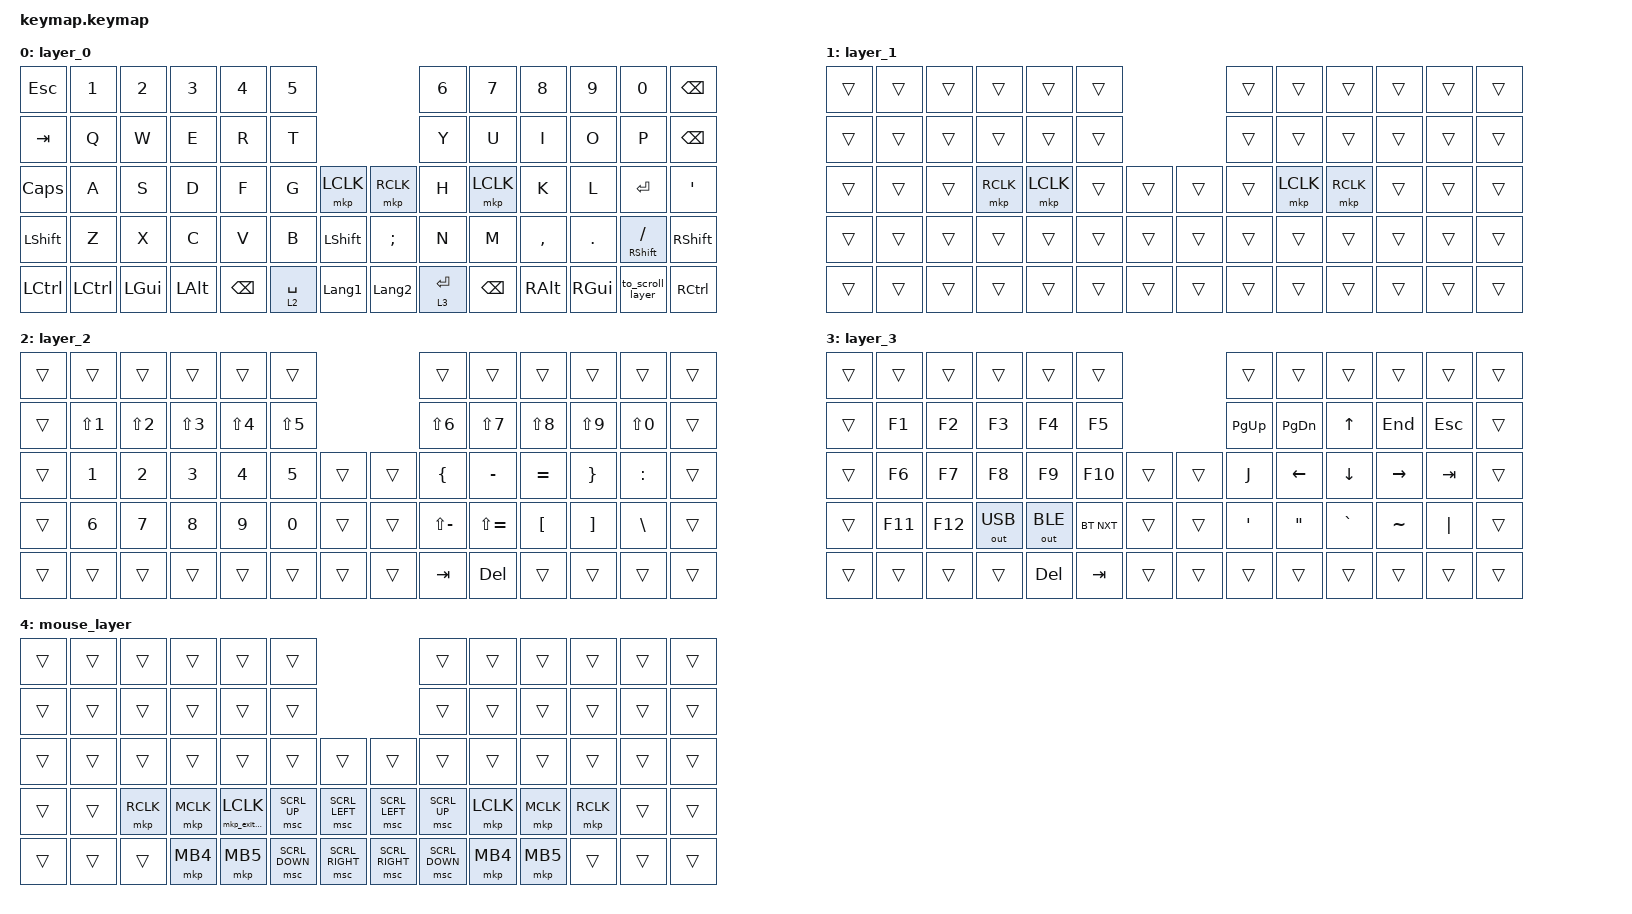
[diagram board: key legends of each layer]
#include <behaviors.dtsi>
#include <dt-bindings/zmk/bt.h>
#include <dt-bindings/zmk/keys.h>
#include <dt-bindings/zmk/outputs.h>
#include <dt-bindings/zmk/pointing.h>

/ {
    combos {
        compatible = "zmk,combos";

        bt_clear {
            bindings = <&bt BT_CLR>;
            key-positions = <28 29>;
            layers = <2>;
        };

        Right_Click {
            bindings = <&mkp RCLK>;
            key-positions = <34 33>;
        };

        browser_back {
            bindings = <&kp LG(LEFT)>;
            key-positions = <58 57>;
        };

        browser_forward {
            bindings = <&kp LG(RIGHT)>;
            key-positions = <59 60>;
        };

        press_J {
            bindings = <&kp J>;
            key-positions = <32 33>;
        };

        browser_back2 {
            bindings = <&kp LG(LEFT)>;
            key-positions = <46 47>;
        };

        browser_forward2 {
            bindings = <&kp LG(RIGHT)>;
            key-positions = <48 47>;
        };

        page_up {
            bindings = <&kp PAGE_UP>;
            key-positions = <33 20>;
        };

        page_down {
            bindings = <&kp PAGE_DOWN>;
            key-positions = <33 46>;
        };
    };

    macros {
        to_layer_0: to_layer_0 {
            compatible = "zmk,behavior-macro-one-param";
            #binding-cells = <1>;
            bindings = <&to 0 &macro_param_1to1 &kp MACRO_PLACEHOLDER>;
            label = "TO_LAYER_0";
        };

        mkp_exit_AML: mkp_exit_AML {
            compatible = "zmk,behavior-macro-one-param";
            #binding-cells = <1>;
            bindings =
                <&macro_press>,
                <&macro_param_1to1 &mkp MACRO_PLACEHOLDER>,
                <&macro_pause_for_release>,
                <&macro_release>,
                <&macro_param_1to1 &mkp MACRO_PLACEHOLDER>,
                <&macro_tap>,
                <&sl 4>;

            label = "MKP_EXIT_AML";
        };

        to_scroll_layer: to_scroll_layer {
            compatible = "zmk,behavior-macro";
            #binding-cells = <0>;
            bindings =
                <&to 1>,
                <&macro_press>,
                <&mo 1>,
                <&macro_pause_for_release>,
                <&macro_release>,
                <&mo 1>;

            label = "TO_SCROLL_LAYER";
        };
    };

    keymap {
        compatible = "zmk,keymap";

        layer_0 {
            bindings = <
&kp ESC    &kp N1     &kp N2    &kp N3    &kp N4    &kp N5                                       &kp N6       &kp N7     &kp N8     &kp N9    &kp N0                &kp BSPC
&kp TAB    &kp Q      &kp W     &kp E     &kp R     &kp T                                        &kp Y        &kp U      &kp I      &kp O     &kp P                 &kp BSPC
&kp CAPS   &kp A      &kp S     &kp D     &kp F     &kp G        &mkp LCLK       &mkp RCLK       &kp H        &mkp LCLK  &kp K      &kp L     &kp RET               &kp SQT
&kp LSHFT  &kp Z      &kp X     &kp C     &kp V     &kp B        &kp LSHFT       &kp SEMI        &kp N        &kp M      &kp COMMA  &kp DOT   &mt RIGHT_SHIFT FSLH  &kp RSHFT
&kp LCTRL  &kp LCTRL  &kp LGUI  &kp LALT  &kp BSPC  &lt 2 SPACE  &kp LANGUAGE_1  &kp LANGUAGE_2  &lt 3 ENTER  &kp BSPC   &kp RALT   &kp RGUI  &to_scroll_layer      &kp RCTRL
            >;
        };

        layer_1 {
            bindings = <
&trans  &trans  &trans  &trans     &trans     &trans                  &trans  &trans     &trans     &trans  &trans  &trans
&trans  &trans  &trans  &trans     &trans     &trans                  &trans  &trans     &trans     &trans  &trans  &trans
&trans  &trans  &trans  &mkp RCLK  &mkp LCLK  &trans  &trans  &trans  &trans  &mkp LCLK  &mkp RCLK  &trans  &trans  &trans
&trans  &trans  &trans  &trans     &trans     &trans  &trans  &trans  &trans  &trans     &trans     &trans  &trans  &trans
&trans  &trans  &trans  &trans     &trans     &trans  &trans  &trans  &trans  &trans     &trans     &trans  &trans  &trans
            >;
        };

        layer_2 {
            bindings = <
&trans  &trans            &trans            &trans      &trans      &trans                      &trans          &trans         &trans            &trans             &trans         &trans
&trans  &kp LS(NUMBER_1)  &kp LS(NUMBER_2)  &kp LS(N3)  &kp LS(N4)  &kp LS(N5)                  &kp LS(N6)      &kp LS(N7)     &kp LS(N8)        &kp LS(N9)         &kp LS(N0)     &trans
&trans  &kp N1            &kp N2            &kp N3      &kp N4      &kp N5      &trans  &trans  &kp LEFT_BRACE  &kp MINUS      &kp EQUAL         &kp RIGHT_BRACE    &kp COLON      &trans
&trans  &kp N6            &kp N7            &kp N8      &kp N9      &kp N0      &trans  &trans  &kp LS(MINUS)   &kp LS(EQUAL)  &kp LEFT_BRACKET  &kp RIGHT_BRACKET  &kp BACKSLASH  &trans
&trans  &trans            &trans            &trans      &trans      &trans      &trans  &trans  &kp TAB         &kp DEL        &trans            &trans             &trans         &trans
            >;
        };

        layer_3 {
            bindings = <
&trans  &trans   &trans   &trans        &trans        &trans                      &trans            &trans          &trans          &trans     &trans      &trans
&trans  &kp F1   &kp F2   &kp F3        &kp F4        &kp F5                      &kp PAGE_UP       &kp PAGE_DOWN   &kp UP          &kp END    &kp ESCAPE  &trans
&trans  &kp F6   &kp F7   &kp F8        &kp F9        &kp F10     &trans  &trans  &kp J             &kp LEFT_ARROW  &kp DOWN_ARROW  &kp RIGHT  &kp TAB     &trans
&trans  &kp F11  &kp F12  &out OUT_USB  &out OUT_BLE  &bt BT_NXT  &trans  &trans  &kp SINGLE_QUOTE  &kp DQT         &kp GRAVE       &kp TILDE  &kp PIPE    &trans
&trans  &trans   &trans   &trans        &kp DELETE    &kp TAB     &trans  &trans  &trans            &trans          &trans          &trans     &trans      &trans
            >;
        };

        mouse_layer {
            bindings = <
&trans  &trans  &trans     &trans     &trans              &trans                                            &trans          &trans     &trans     &trans     &trans  &trans
&trans  &trans  &trans     &trans     &trans              &trans                                            &trans          &trans     &trans     &trans     &trans  &trans
&trans  &trans  &trans     &trans     &trans              &trans          &trans           &trans           &trans          &trans     &trans     &trans     &trans  &trans
&trans  &trans  &mkp RCLK  &mkp MCLK  &mkp_exit_AML LCLK  &msc SCRL_UP    &msc SCRL_LEFT   &msc SCRL_LEFT   &msc SCRL_UP    &mkp LCLK  &mkp MCLK  &mkp RCLK  &trans  &trans
&trans  &trans  &trans     &mkp MB4   &mkp MB5            &msc SCRL_DOWN  &msc SCRL_RIGHT  &msc SCRL_RIGHT  &msc SCRL_DOWN  &mkp MB4   &mkp MB5   &trans     &trans  &trans
            >;
        };
    };
};
